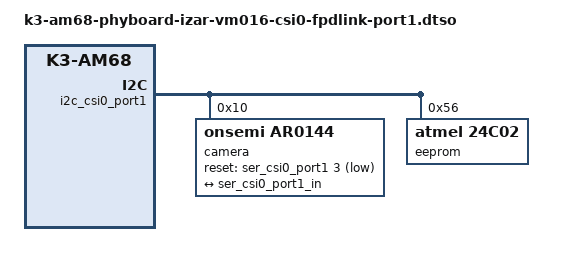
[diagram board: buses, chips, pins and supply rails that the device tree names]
// SPDX-License-Identifier: (GPL-2.0+ OR MIT)
/*
 * Copyright (C) 2025 PHYTEC Messtechnik GmbH
 * Author: Steffen Hemer <s.hemer@phytec.de>
 */

/dts-v1/;
/plugin/;

#include "k3-am68-phyboard-izar-csi0-fpdlink-port1.dtsi"
#include <dt-bindings/gpio/gpio.h>

&i2c_csi0_port1 {
	camera@10 {
		#address-cells = <0x1>;
		#size-cells = <0x0>;

		compatible = "onsemi,ar0144";
		reg = <0x10>;
		clocks = <&ser_csi0_port1>;
		clock-names = "ext";
		isp-bus-info = "csi0";

		assigned-clocks = <&ser_csi0_port1>;
		assigned-clock-rates = <26666666>;

		reset-gpios = <&ser_csi0_port1 3 GPIO_ACTIVE_LOW>;
		onsemi,reset-delay-ms = <100>;

		port@0 {
			reg = <0>;

			vm016_csi0_port1_ep: endpoint {
				remote-endpoint = <&ser_csi0_port1_in>;
				bus-type = <4>; /* MIPI CSI-2 D-PHY */
				link-frequencies = /bits/ 64 <222750000>;
				data-lanes = <1 2>;
				clock-lanes = <0>;
				clock-noncontinuous = <1>;
				onsemi,t-hs-prep = <1>;
				onsemi,t-clk-post = <9>;
			};
		};
	};

	eeprom@56 {
		compatible = "atmel,24c02";
		reg = <0x56>;
		pagesize = <16>;
	};
};

&ser_csi0_port1_in {
	remote-endpoint = <&vm016_csi0_port1_ep>;
	data-lanes = <1 2>;
};
